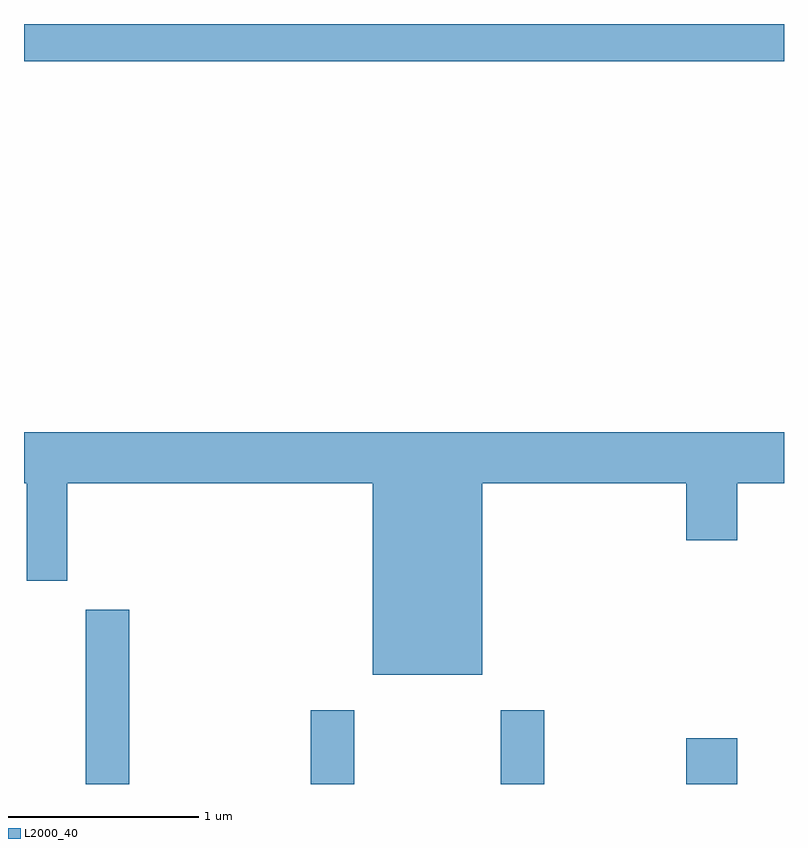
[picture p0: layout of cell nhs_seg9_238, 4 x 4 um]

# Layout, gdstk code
import gdstk
lib = gdstk.Library(unit=1e-6, precision=1e-09)
def R(c, l, rs):  # rectangles x0, y0, x1, y1
    for r in rs: c.add(gdstk.rectangle(r[:2], r[2:], *l))
def P(c, l, *ps):  # polygons
    for p in ps: c.add(gdstk.Polygon(p, *l))
L2000_40 = (2000, 40)

nhs_seg9_238 = lib.new_cell('nhs_seg9_238')
R(nhs_seg9_238, L2000_40, [(191.936,2012.432,192.164,2013.349), (193.121,2012.432,193.349,2012.819), (194.121,2012.432,194.349,2012.819), (195.096,2012.432,195.364,2012.674), (191.611,2016.236,195.611,2016.432)])
P(nhs_seg9_238, L2000_40, [(194.024,2014.016),(195.096,2014.016),(195.096,2013.716),(195.364,2013.716),(195.364,2014.016),(195.611,2014.016),(195.611,2014.284),(191.611,2014.284),(191.611,2014.016),(191.626,2014.016),(191.626,2013.501),(191.839,2013.501),(191.839,2014.016),(193.446,2014.016),(193.446,2013.006),(194.024,2013.006)])

lib.write_gds('nhs_seg9_238.gds')
